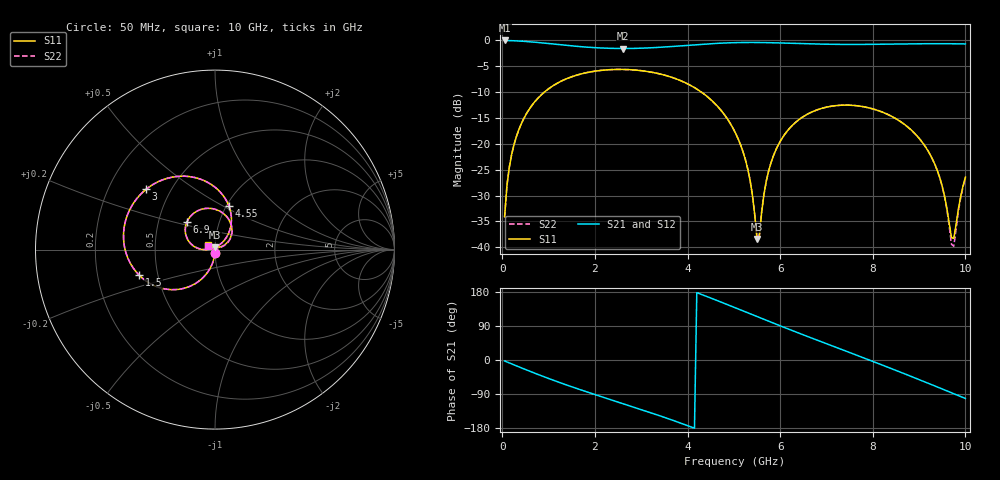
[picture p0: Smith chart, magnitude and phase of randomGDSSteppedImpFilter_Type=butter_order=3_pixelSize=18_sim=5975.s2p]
! freq	dB(S11)	phase(S11)	dB(S12)	phase(S12)
!  dB(S21)	phase(S21)	dB(S22)	phase(S22)
!S-par simulation data
#  GHz  S  DB  R 50
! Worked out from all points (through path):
!   200 points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, 50 MHz to 10 GHz, reference 50 ohm
!   highest |S21| = 0.00 dB at 50 MHz (marker M1); lowest = -1.6 dB at 2.6 GHz (marker M2)
!   group delay of S21, straight-line fit = 127 ps
!   lowest |S11| = -38.4 dB at 5.5 GHz (marker M3), VSWR 1.02, Z = 50 + j1.2 ohm
!   |S11| at or under -10 dB: start of sweep to 908 MHz; 4.301 GHz to end of sweep
!   |S22| runs from -39.8 to -5.6 dB; largest |S21 - S12| = 0
!   S11 on the Smith chart (normalised r, x): 50 MHz: 1.00, -0.04; 1.5 GHz: 0.39, -0.14; 3 GHz: 0.36, +0.33; 4.55 GHz: 1.03, +0.54; 6.9 GHz: 0.70, +0.23; 10 GHz: 0.92, +0.04
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0.05  -34.10 -92.6  -0.00 -2.6  -0.00 -2.6  -34.10 -92.6
0.2  -22.14 -100.6  -0.04 -10.2  -0.04 -10.2  -22.14 -100.6
0.45  -15.36 -113.2  -0.16 -22.7  -0.16 -22.7  -15.36 -113.3
1.5  -7.02 -161.3  -1.05 -70.7  -1.05 -70.7  -7.02 -161.3
1.75  -6.37 -171.7  -1.24 -81.1  -1.24 -81.1  -6.37 -171.7
2.6  -5.61 154.6  -1.56 -114.9  -1.56 -114.9  -5.61 154.6
3  -5.84 138.9  -1.50 -130.8  -1.50 -130.8  -5.84 138.8
3.4  -6.47 122.7  -1.33 -147.1  -1.33 -147.1  -6.47 122.6
4.55  -11.85 72.4  -0.61 161.2  -0.61 161.2  -11.85 72.5
5.05  -18.18 50.8  -0.42 136.9  -0.42 136.9  -18.18 51.0
5.35  -27.03 44.9  -0.39 122.0  -0.39 122.0  -26.99 45.6
5.5  -38.39 87.8  -0.40 114.6  -0.40 114.6  -37.96 89.0
5.7  -27.24 -179.9  -0.42 104.8  -0.42 104.8  -27.21 179.1
5.9  -21.32 177.5  -0.46 95.0  -0.46 95.0  -21.31 176.8
6.7  -13.78 143.9  -0.67 57.0  -0.67 57.0  -13.77 143.4
6.9  -13.13 134.8  -0.71 47.7  -0.71 47.7  -13.13 134.4
7.65  -12.62 100.7  -0.77 12.8  -0.77 12.8  -12.62 100.2
8.35  -14.42 68.5  -0.71 -20.2  -0.71 -20.2  -14.42 67.8
9.3  -23.16 27.9  -0.63 -66.5  -0.63 -66.5  -23.16 26.1
9.55  -30.11 27.4  -0.63 -78.9  -0.63 -78.9  -30.22 23.6
9.7  -38.14 67.7  -0.64 -86.4  -0.64 -86.4  -39.42 62.5
10  -26.45 149.5  -0.68 -101.5  -0.68 -101.5  -26.58 151.6
